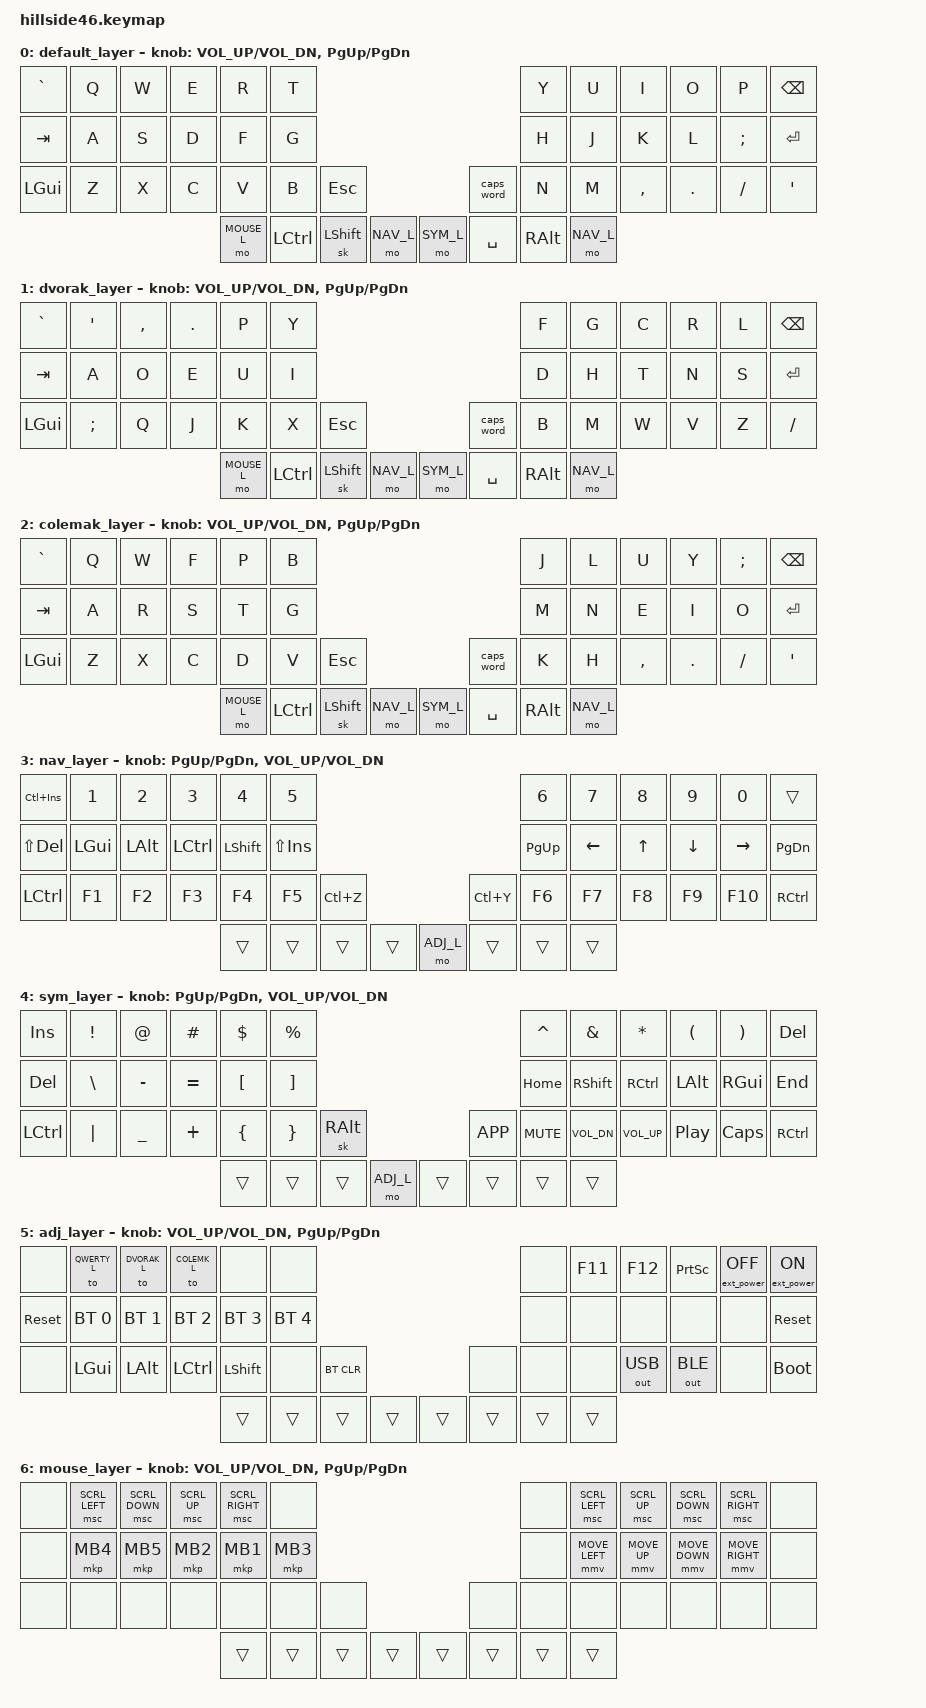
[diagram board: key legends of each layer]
/*
 * Copyright (c) 2021-2022 The ZMK Contributors
 *
 * SPDX-License-Identifier: MIT
 */

#include <behaviors.dtsi>
#include <dt-bindings/zmk/bt.h>
#include <dt-bindings/zmk/ext_power.h>
#include <dt-bindings/zmk/keys.h>
#include <dt-bindings/zmk/outputs.h>

/* Mouse movement PR#2027 */
#include <dt-bindings/zmk/mouse.h>
#include <behaviors/mouse_keys.dtsi>

#define QWERTY_L 0
#define DVORAK_L 1
#define COLEMK_L 2
#define NAV_L    3
#define SYM_L    4
#define ADJ_L    5
#define MOUSE_L  6

#define Undo   LC(Z)
#define Cut    LS(DEL)
#define Copy   LC(INS)
#define Paste  LS(INS)
#define Redo   LC(Y)


/ {
        keymap {
                compatible = "zmk,keymap";

                default_layer {
/* QWERTY
 * -------------------------------------------------------------------------------------------------------------------------------------
 * | `     |   Q   |   W   |   E   |   R   |   T   |-----------------------------------|   Y   |   U   |   I   |   O   |   P   | BKSPC |
 * | TAB   |   A   |   S   |   D   |   F   |   G   |-----------------------------------|   H   |   J   |   K   |   L   |   ;   | ENTER |
 * | GUI   |   Z   |   X   |   C   |   V   |   B   |  ESC  |-------------------|  CAPS |   N   |   M   |   ,   |   .   |   /   |   '   |
 *                                 | MOUSE |  CTRL |SK SHFT|  Nav  |---|  Sym  | SPACE |  ALT  |  Nav  |
 */
                        bindings = <
&kp  GRAVE    &kp  Q        &kp  W        &kp  E        &kp  R        &kp  T                                                                         &kp  Y        &kp  U        &kp  I        &kp  O        &kp  P        &kp  BSPC
&kp  TAB      &kp  A        &kp  S        &kp  D        &kp  F        &kp  G                                                                         &kp  H        &kp  J        &kp  K        &kp  L        &kp  SEMI     &kp  ENTER  
&kp  LGUI     &kp  Z        &kp  X        &kp  C        &kp  V        &kp  B        &kp  ESC                                           &caps_word    &kp  N        &kp  M        &kp  COMMA    &kp  DOT      &kp  SLASH    &kp  SQT
                                                        &mo  MOUSE_L  &kp  LCTRL    &sk  LSHIFT    &mo  NAV_L            &mo  SYM_L    &kp  SPACE    &kp  RALT     &mo  NAV_L
                        >;
			
                        sensor-bindings = <&inc_dec_kp C_VOL_UP C_VOL_DN &inc_dec_kp PG_UP PG_DN>;
                };
		
                dvorak_layer {
/* DVORAK
 * -------------------------------------------------------------------------------------------------------------------------------------
 * | `     |   '   |   ,   |   .   |   P   |   Y   |-----------------------------------|   F   |   G   |   C   |   R   |   L   | BKSPC |
 * | TAB   |   A   |   O   |   E   |   U   |   I   |-----------------------------------|   D   |   H   |   T   |   N   |   S   | ENTER |
 * | GUI   |   ;   |   Q   |   J   |   K   |   X   |  ESC  |-------------------| CAPS  |   B   |   M   |   W   |   V   |   Z   |   /   |
 *                                 | MOUSE |  CTRL |SK SHFT|  Nav  |---|  Sym  | SPACE |  Nav  |  GUI  |
 */
                        bindings = <
&kp  GRAVE    &kp  SQT      &kp  COMMA    &kp  DOT      &kp  P        &kp  Y                                                                         &kp  F        &kp  G        &kp  C        &kp  R        &kp  L        &kp  BSPC
&kp  TAB      &kp  A        &kp  O        &kp  E        &kp  U        &kp  I                                                                         &kp  D        &kp  H        &kp  T        &kp  N        &kp  S        &kp  ENTER
&kp  LGUI     &kp  SEMI     &kp  Q        &kp  J        &kp  K        &kp  X        &kp  ESC                                           &caps_word    &kp  B        &kp  M        &kp  W        &kp  V        &kp  Z        &kp  SLASH
                                                        &mo  MOUSE_L  &kp  LCTRL    &sk  LSHIFT    &mo  NAV_L            &mo  SYM_L    &kp  SPACE    &kp  RALT     &mo  NAV_L
                        >;
			
                        sensor-bindings = <&inc_dec_kp C_VOL_UP C_VOL_DN &inc_dec_kp PG_UP PG_DN>;
                };
		
                colemak_layer {
/* COLEMAK-DH
 * -------------------------------------------------------------------------------------------------------------------------------------
 * | `     |   Q   |   W   |   F   |   P   |   B   |-----------------------------------|   J   |   L   |   U   |   Y   |   ;   | BKSPC |
 * | TAB   |   A   |   R   |   S   |   T   |   G   |-----------------------------------|   M   |   N   |   E   |   I   |   O   | ENTER |
 * | GUI   |   Z   |   X   |   C   |   D   |   V   |  ESC  |-------------------| CAPS  |   K   |   H   |   ,   |   .   |   /   |   '   |
 *                                 | MOUSE |  CTRL |SK SHFT|  Nav  |---|  Sym  | SPACE |  Nav  |  GUI  |
 */
                        bindings = <
&kp  GRAVE    &kp  Q        &kp  W        &kp  F        &kp  P        &kp  B                                                                         &kp  J        &kp  L        &kp  U        &kp  Y        &kp  SEMI     &kp  BSPC
&kp  TAB      &kp  A        &kp  R        &kp  S        &kp  T        &kp  G                                                                         &kp  M        &kp  N        &kp  E        &kp  I        &kp  O        &kp  ENTER
&kp  LGUI     &kp  Z        &kp  X        &kp  C        &kp  D        &kp  V        &kp   ESC                                          &caps_word    &kp  K        &kp  H        &kp  COMMA    &kp  DOT      &kp  SLASH    &kp  SQT
                                                        &mo  MOUSE_L  &kp  LCTRL    &sk  LSHIFT    &mo  NAV_L            &mo  SYM_L    &kp  SPACE    &kp  RALT     &mo  NAV_L
                        >;
			
                        sensor-bindings = <&inc_dec_kp C_VOL_UP C_VOL_DN &inc_dec_kp PG_UP PG_DN>;
                };
		
                nav_layer {
/* NAV   
 * -------------------------------------------------------------------------------------------------------------------------------------
 * | Copy  |   1   |   2   |   3   |   4   |   5   |-----------------------------------|   6   |   7   |   8   |   9   |   0   | BSPC  |
 * | Cut   |  GUI  |  Alt  | Ctrl  | Shift | Paste |-----------------------------------| PG UP |  Left |  Up   |  Down | Right | PG DN |
 * | Ctrl  |  F1   |  F2   |  F3   |  F4   |  F5   |  UnDo |-------------------| ReDo  |  F6   |  F7   |  F8   |  F9   |  F10  | Ctrl  |
 *                                 |       |       |       |       |---| ADJ_L |       |       |       |
 */
                        bindings = <
&kp  Copy     &kp  N1       &kp  N2       &kp  N3       &kp  N4       &kp  N5                                                                        &kp   N6      &kp   N7      &kp   N8      &kp   N9      &kp  N0       &trans
&kp  Cut      &kp  LGUI     &kp  LALT     &kp  LCTRL    &kp  LSHFT    &kp  Paste                                                                     &kp   PG_UP   &kp  LEFT    &kp   UP      &kp   DOWN    &kp  RIGHT    &kp PG_DN
&kp  LCTRL    &kp  F1       &kp  F2       &kp  F3       &kp  F4       &kp  F5       &kp Undo                                           &kp  Redo     &kp   F6      &kp  F7      &kp   F8      &kp   F9      &kp  F10      &kp RCTRL
                                                        &trans        &trans        &trans        &trans                 &mo ADJ_L     &trans        &trans        &trans 
                        >;
			
                        sensor-bindings = <&inc_dec_kp PG_UP PG_DN &inc_dec_kp C_VOL_UP C_VOL_DN>;
                };

                sym_layer {
/* SYM
 * -------------------------------------------------------------------------------------------------------------------------------------
 * | INS   |   !   |   @   |   #   |   $   |   %   |-----------------------------------|   ^   |   &   |   *   |   (   |   )   | BSPC  |
 * | DEL   |   \   |   -   |   =   |   [   |   ]   |-----------------------------------| HOME  | Shift | Ctrl  | Alt   | Gui   | END   |
 * | Ctrl  |   |   |   _   |   +   |   {   |   }   |SkAltGr|-------------------| MENU  | Mute  | Vol-  | Vol+  | Play  | CAPS  | Ctrl  |
 *                                 |       |       |       |  ADJ_L |---|      |       |       |       |
 */
                        bindings = <
&kp  INS      &kp  EXCL     &kp  AT       &kp  HASH     &kp  DOLLAR   &kp  PERCENT                                                                   &kp  CARET    &kp  AMPS     &kp  ASTRK    &kp  LPAR     &kp  RPAR     &kp DEL
&kp  DEL      &kp  BSLH     &kp  MINUS    &kp  EQUAL    &kp  LBKT     &kp  RBKT                                                                      &kp  HOME     &kp  RSHFT    &kp  RCTRL    &kp  LALT     &kp  RGUI     &kp END
&kp  LCTRL    &kp  PIPE     &kp  UNDER    &kp  PLUS     &kp  LBRC     &kp  RBRC     &sk  RALT                                          &kp K_APP     &kp  C_MUTE   &kp  C_VOL_DN &kp  C_VOL_UP &kp  C_PP     &kp  CAPS     &kp RCTRL
                                                        &trans        &trans        &trans       &mo  ADJ_L               &trans       &trans        &trans        &trans
                        >;
			
                        sensor-bindings = <&inc_dec_kp PG_UP PG_DN &inc_dec_kp C_VOL_UP C_VOL_DN>;
                };
		
                adj_layer {
/* ADJUST
 * -------------------------------------------------------------------------------------------------------------------------------------
 * |       | QWERTY| DVORAK| COLEMK|       |       |-----------------------------------|       |  F11  |  F12  |Prt Scr|EP_OFF | EP_ON |
 * | RESET | BT 0  | BT 1  | BT 2  | BT 3  | BT 4  |-----------------------------------|       |       |       |       |       | RESET |
 * |       | LGUI  | LALT  | LCTRL | LSHIFT|       |BT CLR |-------------------|       |       |       |OUT_USB|OUT_BLE|       | BOOTL |
 *                                 |       |       |       |       |---|       |       |       |       |
 */
                        bindings = <
&none         &to  QWERTY_L &to  DVORAK_L &to  COLEMK_L &none         &none                                                                             &none             &kp   F11          &kp   F12  &kp PRINTSCREEN   &ext_power EP_OFF  &ext_power EP_ON
&sys_reset    &bt  BT_SEL 0 &bt  BT_SEL 1 &bt  BT_SEL 2 &bt  BT_SEL 3 &bt  BT_SEL 4                                                                     &none             &none              &none            &none          &none           &sys_reset
&none         &kp  LGUI     &kp  LALT     &kp  LCTRL    &kp LSHIFT    &none         &bt BT_CLR                                         &none            &none             &none              &out  OUT_USB    &out  OUT_BLE  &none           &bootloader
                                                        &trans        &trans        &trans        &trans                 &trans        &trans           &trans            &trans 
                        >;
			
                        sensor-bindings = <&inc_dec_kp C_VOL_UP C_VOL_DN &inc_dec_kp PG_UP PG_DN>;
                };
		
                mouse_layer {
/* MOUSE
 * -------------------------------------------------------------------------------------------------------------------------------------
 * |       |       |       |       |       |       |-----------------------------------|       |       |       |      |       |        |
 * |       |       |       |       |       |       |-----------------------------------|       |       |       |      |       |        |
 * |       |       |       |       |       |       |       |-------------------|       |       |       |       |      |       |        |
 *                                 |  MOU  |       |       |       |---|       |       |       |       |
 */
                        bindings = <
&none         &msc SCRL_LEFT &msc SCRL_DOWN &msc SCRL_UP &msc SCRL_RIGHT   &none                                                                             &none             &msc SCRL_LEFT     &msc SCRL_UP     &msc SCRL_DOWN  &msc SCRL_RIGHT  &none
&none         &mkp MB4       &mkp MB5       &mkp MB2     &mkp MB1          &mkp MB3                                                                          &none             &mmv MOVE_LEFT     &mmv MOVE_UP     &mmv MOVE_DOWN  &mmv MOVE_RIGHT  &none
&none         &none          &none          &none        &none             &none         &none                                              &none            &none             &none              &none            &none           &none            &none
                                                         &trans            &trans        &trans        &trans                 &trans        &trans           &trans            &trans 
                        >;
			
                        sensor-bindings = <&inc_dec_kp C_VOL_UP C_VOL_DN &inc_dec_kp PG_UP PG_DN>;
                };
        };
};
